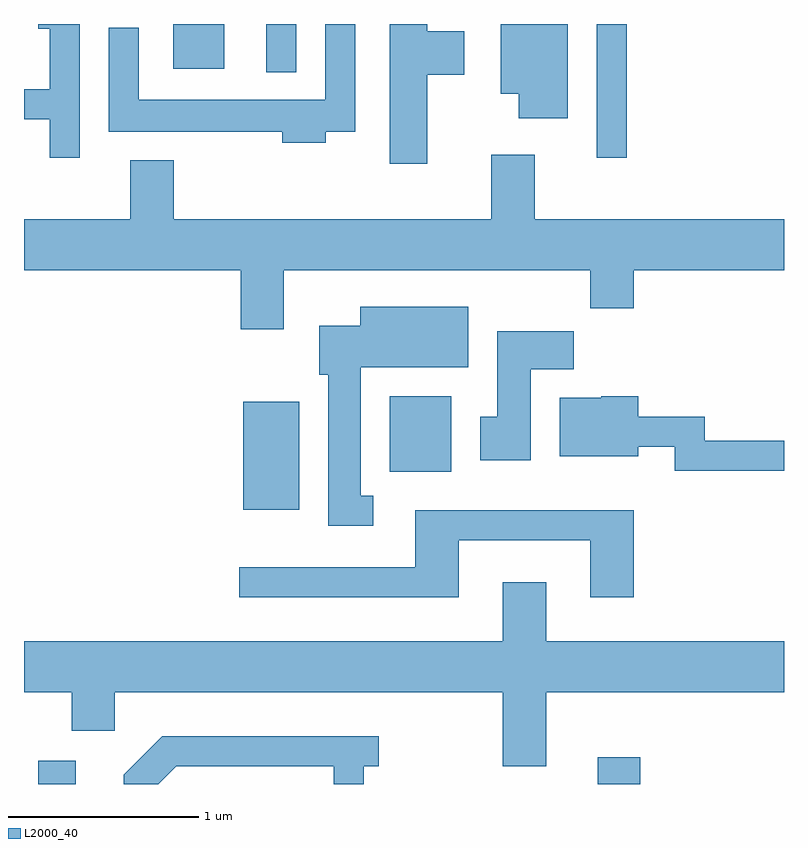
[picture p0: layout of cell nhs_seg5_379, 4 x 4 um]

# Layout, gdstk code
import gdstk
lib = gdstk.Library(unit=1e-6, precision=1e-09)
def R(c, l, rs):  # rectangles x0, y0, x1, y1
    for r in rs: c.add(gdstk.rectangle(r[:2], r[2:], *l))
def P(c, l, *ps):  # polygons
    for p in ps: c.add(gdstk.Polygon(p, *l))
L2000_40 = (2000, 40)

nhs_seg5_379 = lib.new_cell('nhs_seg5_379')
R(nhs_seg5_379, L2000_40, [(195.686,1474.072,195.884,1474.194), (198.631,1474.072,198.854,1474.214), (196.766,1475.516,197.059,1476.084), (197.536,1475.716,197.859,1476.114), (198.626,1477.368,198.784,1478.072), (196.886,1477.818,197.044,1478.072), (196.396,1477.836,196.664,1478.072)])
P(nhs_seg5_379, L2000_40, [(197.199,1477.506),(197.354,1477.506),(197.354,1478.072),(197.196,1478.072),(197.196,1477.674),(196.214,1477.674),(196.214,1478.053),(196.056,1478.053),(196.056,1477.506),(196.971,1477.506),(196.971,1477.446),(197.199,1477.446)],
  [(198.474,1478.072),(198.121,1478.072),(198.121,1477.706),(198.216,1477.706),(198.216,1477.576),(198.474,1477.576)],
  [(195.904,1478.072),(195.686,1478.072),(195.686,1478.046),(195.746,1478.046),(195.746,1477.729),(195.611,1477.729),(195.611,1477.571),(195.746,1477.571),(195.746,1477.368),(195.904,1477.368)],
  [(197.734,1477.806),(197.929,1477.806),(197.929,1478.034),(197.734,1478.034),(197.734,1478.072),(197.536,1478.072),(197.536,1477.336),(197.734,1477.336)],
  [(196.979,1476.776),(198.591,1476.776),(198.591,1476.576),(198.819,1476.576),(198.819,1476.776),(199.611,1476.776),(199.611,1477.044),(198.299,1477.044),(198.299,1477.384),(198.071,1477.384),(198.071,1477.044),(196.399,1477.044),(196.399,1477.354),(196.171,1477.354),(196.171,1477.044),(195.611,1477.044),(195.611,1476.776),(196.751,1476.776),(196.751,1476.466),(196.979,1476.466)],
  [(197.448,1475.589),(197.384,1475.589),(197.384,1476.266),(197.949,1476.266),(197.949,1476.584),(197.381,1476.584),(197.381,1476.484),(197.166,1476.484),(197.166,1476.226),(197.211,1476.226),(197.211,1475.431),(197.448,1475.431)],
  [(198.279,1476.256),(198.504,1476.256),(198.504,1476.454),(198.101,1476.454),(198.101,1476.004),(198.011,1476.004),(198.011,1475.776),(198.279,1475.776)],
  [(199.611,1475.879),(199.194,1475.879),(199.194,1476.004),(198.844,1476.004),(198.844,1476.114),(198.65,1476.114),(198.65,1476.104),(198.431,1476.104),(198.431,1475.796),(198.844,1475.796),(198.844,1475.846),(199.036,1475.846),(199.036,1475.721),(199.611,1475.721)],
  [(197.899,1475.356),(198.591,1475.356),(198.591,1475.056),(198.819,1475.056),(198.819,1475.514),(197.671,1475.514),(197.671,1475.214),(196.743,1475.214),(196.743,1475.056),(197.899,1475.056)],
  [(198.359,1474.556),(199.611,1474.556),(199.611,1474.824),(198.359,1474.824),(198.359,1475.134),(198.131,1475.134),(198.131,1474.824),(195.611,1474.824),(195.611,1474.556),(195.861,1474.556),(195.861,1474.351),(196.089,1474.351),(196.089,1474.556),(198.131,1474.556),(198.131,1474.166),(198.359,1474.166)],
  [(196.412,1474.166),(197.241,1474.166),(197.241,1474.072),(197.399,1474.072),(197.399,1474.166),(197.478,1474.166),(197.478,1474.324),(196.339,1474.324),(196.136,1474.122),(196.136,1474.072),(196.317,1474.072)])

lib.write_gds('nhs_seg5_379.gds')
